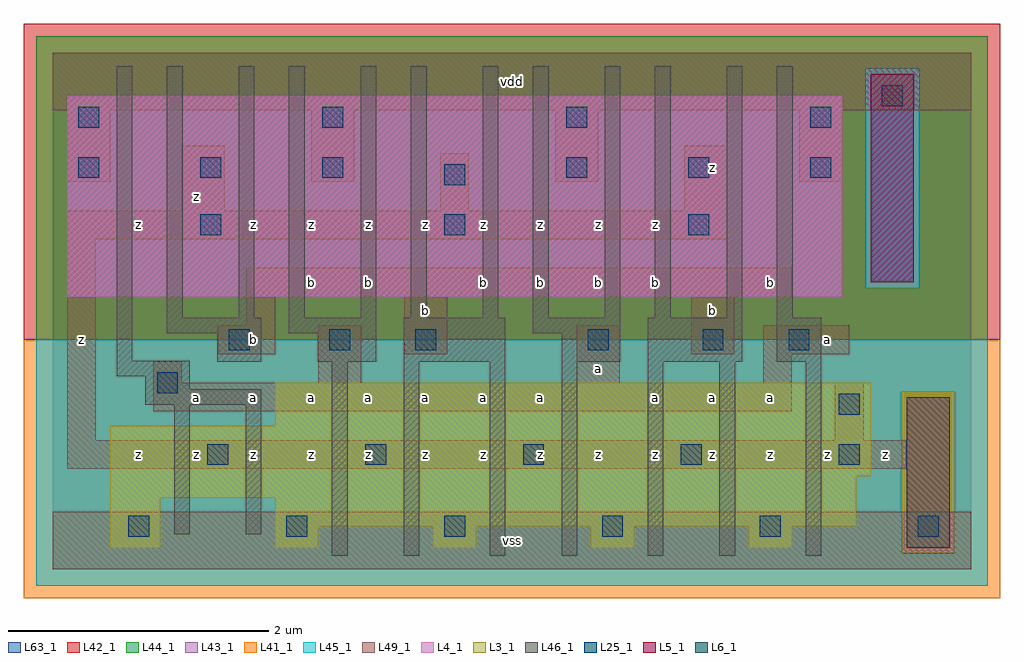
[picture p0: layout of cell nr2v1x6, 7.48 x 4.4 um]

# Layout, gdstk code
import gdstk
lib = gdstk.Library(unit=1e-6, precision=1e-09)
def R(c, l, rs):  # rectangles x0, y0, x1, y1
    for r in rs: c.add(gdstk.rectangle(r[:2], r[2:], *l))
def A(c, l, x, y, w, h, nx, ny, dx, dy):  # array of equal rectangles
    R(c, l, [(x+i*dx, y+j*dy, x+i*dx+w, y+j*dy+h) for i in range(nx) for j in range(ny)])
L3_1 = (3, 1)
L4_1 = (4, 1)
L5_1 = (5, 1)
L6_1 = (6, 1)
L25_1 = (25, 1)
L41_1 = (41, 1)
L42_1 = (42, 1)
L43_1 = (43, 1)
L44_1 = (44, 1)
L45_1 = (45, 1)
L46_1 = (46, 1)
L49_1 = (49, 1)
L63_1 = (63, 1)

nr2v1x6 = lib.new_cell('nr2v1x6')
A(nr2v1x6, L3_1, 1.705, 0.165, 0.33, 0.165, 4, 1, 1.21, 0)
R(nr2v1x6, L3_1, [(0.44,0.165,0.825,0.55), (1.705,0.33,6.16,0.55), (0.44,0.55,6.16,0.715), (0.44,0.715,6.27,1.1), (1.705,1.1,6.27,1.43)])
R(nr2v1x6, L4_1, [(0.11,2.09,6.05,3.63)])
R(nr2v1x6, L5_1, [(6.27,2.2,6.6,3.795)])
R(nr2v1x6, L6_1, [(6.545,0.165,6.875,1.32)])
A(nr2v1x6, L25_1, 0.58, 0.25, 0.16, 0.16, 6, 1, 1.21, 0)
A(nr2v1x6, L25_1, 1.185, 0.8, 0.16, 0.16, 5, 1, 1.21, 0)
A(nr2v1x6, L25_1, 1.13, 2.56, 0.16, 0.16, 3, 1, 1.87, 0)
A(nr2v1x6, L25_1, 0.195, 3, 0.16, 0.16, 3, 1, 0.935, 0)
A(nr2v1x6, L25_1, 3.935, 3, 0.16, 0.16, 3, 1, 0.935, 0)
A(nr2v1x6, L25_1, 0.195, 3.385, 0.16, 0.16, 4, 1, 1.87, 0)
R(nr2v1x6, L25_1, [(6.025,1.185,6.185,1.345), (0.8,1.35,0.96,1.51), (1.35,1.68,1.51,1.84), (2.12,1.68,2.28,1.84), (2.78,1.68,2.94,1.84), (4.1,1.68,4.26,1.84), (4.98,1.68,5.14,1.84), (5.64,1.68,5.8,1.84), (3,2.945,3.16,3.105), (6.355,3.55,6.515,3.71)])
R(nr2v1x6, L41_1, [(-0.22,-0.22,7.26,1.76)])
R(nr2v1x6, L42_1, [(-0.22,1.76,7.26,4.18)])
A(nr2v1x6, L43_1, 1.705, 0.165, 0.33, 0.165, 4, 1, 1.21, 0)
R(nr2v1x6, L43_1, [(0.44,0.165,0.825,0.55), (6.545,0.165,6.875,1.32), (1.705,0.33,6.16,0.55), (0.44,0.55,6.16,0.715), (0.44,0.715,6.27,1.1), (1.705,1.1,6.27,1.43), (0.11,2.09,6.05,3.63), (6.27,2.2,6.6,3.795)])
R(nr2v1x6, L44_1, [(6.505,0.125,6.915,1.36), (-0.125,1.76,7.165,2.16), (-0.125,2.16,6.23,3.835), (6.64,2.16,7.165,3.835), (-0.125,3.835,7.165,4.085)])
R(nr2v1x6, L45_1, [(-0.125,-0.125,7.165,0.125), (-0.125,0.125,6.505,1.36), (6.915,0.125,7.165,1.36), (-0.125,1.36,7.165,1.76), (6.23,2.16,6.64,3.835)])
R(nr2v1x6, L46_1, [(2.14,0.105,2.26,1.59), (2.69,0.105,2.81,1.59), (3.35,0.105,3.47,1.59), (3.9,0.105,4.02,1.59), (4.56,0.105,4.68,1.59), (5.11,0.105,5.23,1.59), (5.77,0.105,5.89,1.59), (0.93,0.27,1.05,1.26), (1.48,0.27,1.6,1.26), (0.71,1.26,1.6,1.38), (0.71,1.38,1.05,1.48), (0.49,1.48,1.05,1.6), (1.26,1.59,1.6,1.81), (2.03,1.59,2.48,1.81), (2.69,1.59,3.47,1.93), (3.9,1.59,4.35,1.81), (4.56,1.59,5.285,1.93), (5.55,1.59,5.89,1.93), (0.49,1.6,0.61,3.855), (0.875,1.81,1.6,1.93), (1.81,1.81,2.48,1.93), (3.68,1.81,4.35,1.93), (0.875,1.93,0.995,3.855), (1.425,1.93,1.545,3.855), (1.81,1.93,1.93,3.855), (2.36,1.93,2.48,3.855), (2.745,1.93,2.865,3.855), (3.295,1.93,3.415,3.855), (3.68,1.93,3.8,3.855), (4.23,1.93,4.35,3.855), (4.615,1.93,4.735,3.855), (5.165,1.93,5.285,3.855), (5.55,1.93,5.67,3.855)])
A(nr2v1x6, L49_1, 0.11, 2.97, 0.33, 0.55, 4, 1, 1.87, 0)
R(nr2v1x6, L49_1, [(0,0,7.04,0.44), (0.11,0.77,6.545,0.99), (0.11,0.99,0.33,2.53), (5.995,0.99,6.215,1.43), (0.77,1.21,5.665,1.43), (0.77,1.43,0.99,1.595), (2.035,1.43,2.365,1.87), (4.015,1.43,4.345,1.87), (5.445,1.43,5.665,1.65), (1.265,1.65,1.705,1.87), (2.695,1.65,3.025,2.09), (4.895,1.65,5.225,2.09), (5.445,1.65,6.105,1.87), (1.485,1.87,1.705,2.09), (1.485,2.09,5.665,2.31), (0.11,2.53,5.17,2.75), (0.99,2.75,1.32,3.245), (2.97,2.75,3.19,3.19), (4.84,2.75,5.17,3.245), (0,3.52,7.04,3.96)])
R(nr2v1x6, L63_1, [(0,0,7.04,3.96)])
nr2v1x6.add(gdstk.Label('z', (1.1,0.88), layer=49, texttype=1))
nr2v1x6.add(gdstk.Label('z', (0.66,0.88), layer=49, texttype=1))
nr2v1x6.add(gdstk.Label('a', (1.1,1.32), layer=49, texttype=1))
nr2v1x6.add(gdstk.Label('z', (0.22,1.76), layer=49, texttype=1))
nr2v1x6.add(gdstk.Label('z', (1.1,2.86), layer=49, texttype=1))
nr2v1x6.add(gdstk.Label('z', (0.66,2.64), layer=49, texttype=1))
nr2v1x6.add(gdstk.Label('z', (2.42,0.88), layer=49, texttype=1))
nr2v1x6.add(gdstk.Label('z', (1.98,0.88), layer=49, texttype=1))
nr2v1x6.add(gdstk.Label('z', (1.54,0.88), layer=49, texttype=1))
nr2v1x6.add(gdstk.Label('a', (2.42,1.32), layer=49, texttype=1))
nr2v1x6.add(gdstk.Label('a', (1.98,1.32), layer=49, texttype=1))
nr2v1x6.add(gdstk.Label('a', (1.54,1.32), layer=49, texttype=1))
nr2v1x6.add(gdstk.Label('b', (1.54,1.76), layer=49, texttype=1))
nr2v1x6.add(gdstk.Label('b', (2.42,2.2), layer=49, texttype=1))
nr2v1x6.add(gdstk.Label('b', (1.98,2.2), layer=49, texttype=1))
nr2v1x6.add(gdstk.Label('z', (2.42,2.64), layer=49, texttype=1))
nr2v1x6.add(gdstk.Label('z', (1.98,2.64), layer=49, texttype=1))
nr2v1x6.add(gdstk.Label('z', (1.54,2.64), layer=49, texttype=1))
nr2v1x6.add(gdstk.Label('vss', (3.52,0.22), layer=49, texttype=1))
nr2v1x6.add(gdstk.Label('z', (3.74,0.88), layer=49, texttype=1))
nr2v1x6.add(gdstk.Label('z', (3.3,0.88), layer=49, texttype=1))
nr2v1x6.add(gdstk.Label('z', (2.86,0.88), layer=49, texttype=1))
nr2v1x6.add(gdstk.Label('a', (2.86,1.32), layer=49, texttype=1))
nr2v1x6.add(gdstk.Label('a', (3.74,1.32), layer=49, texttype=1))
nr2v1x6.add(gdstk.Label('a', (3.3,1.32), layer=49, texttype=1))
nr2v1x6.add(gdstk.Label('b', (2.86,1.98), layer=49, texttype=1))
nr2v1x6.add(gdstk.Label('b', (3.74,2.2), layer=49, texttype=1))
nr2v1x6.add(gdstk.Label('b', (3.3,2.2), layer=49, texttype=1))
nr2v1x6.add(gdstk.Label('z', (2.86,2.64), layer=49, texttype=1))
nr2v1x6.add(gdstk.Label('z', (3.74,2.64), layer=49, texttype=1))
nr2v1x6.add(gdstk.Label('z', (3.3,2.64), layer=49, texttype=1))
nr2v1x6.add(gdstk.Label('vdd', (3.52,3.74), layer=49, texttype=1))
nr2v1x6.add(gdstk.Label('z', (5.06,0.88), layer=49, texttype=1))
nr2v1x6.add(gdstk.Label('z', (4.62,0.88), layer=49, texttype=1))
nr2v1x6.add(gdstk.Label('z', (5.5,0.88), layer=49, texttype=1))
nr2v1x6.add(gdstk.Label('z', (4.18,0.88), layer=49, texttype=1))
nr2v1x6.add(gdstk.Label('a', (5.06,1.32), layer=49, texttype=1))
nr2v1x6.add(gdstk.Label('a', (4.62,1.32), layer=49, texttype=1))
nr2v1x6.add(gdstk.Label('a', (5.5,1.32), layer=49, texttype=1))
nr2v1x6.add(gdstk.Label('a', (4.18,1.54), layer=49, texttype=1))
nr2v1x6.add(gdstk.Label('b', (4.18,2.2), layer=49, texttype=1))
nr2v1x6.add(gdstk.Label('b', (4.62,2.2), layer=49, texttype=1))
nr2v1x6.add(gdstk.Label('b', (5.5,2.2), layer=49, texttype=1))
nr2v1x6.add(gdstk.Label('b', (5.06,1.98), layer=49, texttype=1))
nr2v1x6.add(gdstk.Label('z', (4.18,2.64), layer=49, texttype=1))
nr2v1x6.add(gdstk.Label('z', (4.62,2.64), layer=49, texttype=1))
nr2v1x6.add(gdstk.Label('z', (5.06,3.08), layer=49, texttype=1))
nr2v1x6.add(gdstk.Label('z', (6.38,0.88), layer=49, texttype=1))
nr2v1x6.add(gdstk.Label('z', (5.94,0.88), layer=49, texttype=1))
nr2v1x6.add(gdstk.Label('a', (5.94,1.76), layer=49, texttype=1))

lib.write_gds('nr2v1x6.gds')
